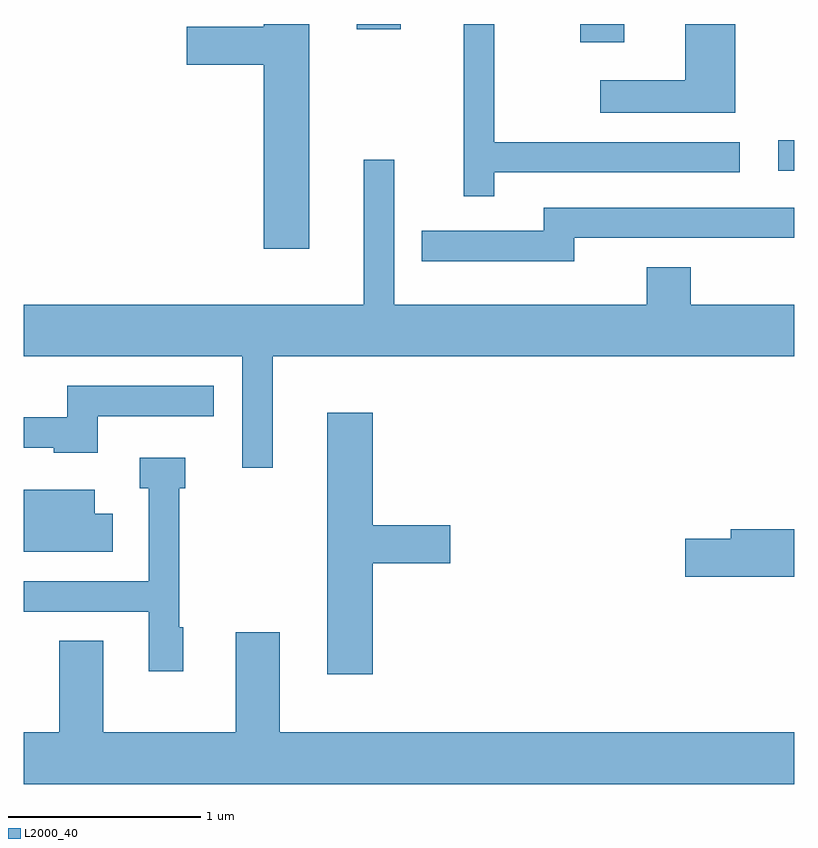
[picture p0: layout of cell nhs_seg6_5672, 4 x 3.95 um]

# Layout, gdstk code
import gdstk
lib = gdstk.Library(unit=1e-6, precision=1e-09)
def R(c, l, rs):  # rectangles x0, y0, x1, y1
    for r in rs: c.add(gdstk.rectangle(r[:2], r[2:], *l))
def P(c, l, *ps):  # polygons
    for p in ps: c.add(gdstk.Polygon(p, *l))
L2000_40 = (2000, 40)

nhs_seg6_5672 = lib.new_cell('nhs_seg6_5672')
R(nhs_seg6_5672, L2000_40, [(361.528,1595.401,361.611,1595.559), (360.501,1596.066,360.729,1596.162), (359.341,1596.136,359.569,1596.162)])
P(nhs_seg6_5672, L2000_40, [(360.054,1595.391),(361.328,1595.391),(361.328,1595.549),(360.054,1595.549),(360.054,1596.162),(359.896,1596.162),(359.896,1595.268),(360.054,1595.268)],
  [(361.304,1596.162),(361.046,1596.162),(361.046,1595.869),(360.603,1595.869),(360.603,1595.701),(361.304,1595.701)],
  [(359.094,1596.162),(358.856,1596.162),(358.856,1596.149),(358.456,1596.149),(358.456,1595.951),(358.856,1595.951),(358.856,1594.996),(359.094,1594.996)],
  [(358.904,1594.436),(361.611,1594.436),(361.611,1594.704),(361.074,1594.704),(361.074,1594.899),(360.846,1594.899),(360.846,1594.704),(359.534,1594.704),(359.534,1595.458),(359.376,1595.458),(359.376,1594.704),(357.611,1594.704),(357.611,1594.436),(358.746,1594.436),(358.746,1593.858),(358.904,1593.858)],
  [(360.469,1595.051),(361.611,1595.051),(361.611,1595.209),(360.311,1595.209),(360.311,1595.089),(359.678,1595.089),(359.678,1594.931),(360.469,1594.931)],
  [(357.994,1594.126),(358.598,1594.126),(358.598,1594.284),(357.836,1594.284),(357.836,1594.119),(357.611,1594.119),(357.611,1593.961),(357.766,1593.961),(357.766,1593.936),(357.994,1593.936)],
  [(359.424,1593.361),(359.824,1593.361),(359.824,1593.559),(359.424,1593.559),(359.424,1594.144),(359.186,1594.144),(359.186,1592.786),(359.424,1592.786)],
  [(358.439,1593.029),(358.419,1593.029),(358.419,1593.751),(358.449,1593.751),(358.449,1593.909),(358.213,1593.909),(358.213,1593.751),(358.261,1593.751),(358.261,1593.269),(357.611,1593.269),(357.611,1593.111),(358.261,1593.111),(358.261,1592.801),(358.439,1592.801)],
  [(358.074,1593.619),(357.979,1593.619),(357.979,1593.744),(357.611,1593.744),(357.611,1593.421),(358.074,1593.421)],
  [(361.611,1593.539),(361.281,1593.539),(361.281,1593.489),(361.046,1593.489),(361.046,1593.291),(361.611,1593.291)],
  [(361.611,1592.484),(358.939,1592.484),(358.939,1593.004),(358.711,1593.004),(358.711,1592.484),(358.024,1592.484),(358.024,1592.959),(357.796,1592.959),(357.796,1592.484),(357.611,1592.484),(357.611,1592.216),(361.611,1592.216)])

lib.write_gds('nhs_seg6_5672.gds')
